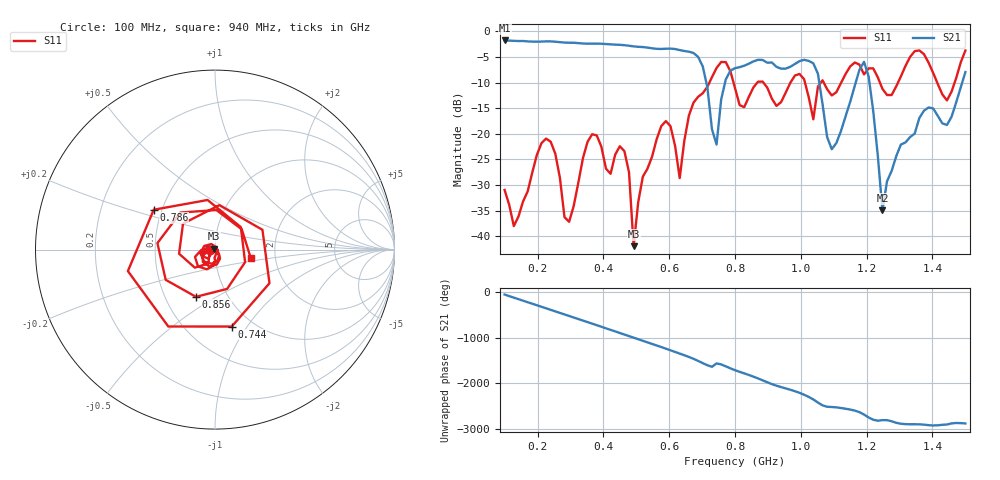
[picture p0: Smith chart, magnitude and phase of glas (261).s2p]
! NanoVNA-App
! Date: 2025-09-25 15:57:30
! Start: 100MHz Stop: 1,5GHz Points: 101
! S-Parameter data: F S11 S21 S12 S22
# Hz S RI R 50
!  Frequency  S11_Real  S11_Imag  S21_Real  S21_Imag  S12_Real  S12_Imag  S22_Real  S22_Imag
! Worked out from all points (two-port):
!   101 points, 100 MHz to 1.5 GHz, reference 50 ohm
!   highest |S21| = -1.80 dB at 100 MHz (marker M1); lowest = -34.9 dB at 1.248 GHz (marker M2)
!   |S21| within 3 dB of the highest: start of sweep to 684.2 MHz
!   lowest |S11| = -41.9 dB at 492 MHz (marker M3), VSWR 1.02, Z = 49.5 + j0.598 ohm
!   |S11| at or under -10 dB: start of sweep to 722.3 MHz; 795.4 MHz to 868 MHz (72.56 MHz wide, 8.72 % of centre); 886.2 MHz to 968.6 MHz (82.38 MHz wide, 8.88 % of centre) (the widest 3 of 7)
!   S12 and S22 are empty: the file has one direction only
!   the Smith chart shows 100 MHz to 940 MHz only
!   S11 on the Smith chart (normalised r, x): 100 MHz: 0.95, -0.01; 744 MHz: 0.80, -0.85; 786 MHz: 0.45, +0.24; 856 MHz: 0.71, -0.41; 940 MHz: 1.49, -0.14
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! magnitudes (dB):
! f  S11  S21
! 100 MHz  -30.9  -1.8
! 128 MHz  -38.0  -1.9
! 226 MHz  -20.9  -2.0
! 296 MHz  -37.1  -2.2
! 338 MHz  -24.7  -2.4
! 464 MHz  -23.4  -2.7
! 492 MHz  -41.9  -3.0
! 576 MHz  -18.5  -3.5
! 632 MHz  -28.6  -3.7
! 702 MHz  -12.1  -6.8
! 744 MHz  -7.2  -22.1
! 786 MHz  -7.8  -7.7
! 800 MHz  -11.1  -7.2
! 856 MHz  -10.9  -5.9
! 940 MHz  -13.8  -7.3
! 1.038 GHz  -17.2  -6.3
! 1.094 GHz  -12.5  -23.0
! 1.192 GHz  -8.4  -6.0
! 1.248 GHz  -11.2  -34.9
! 1.276 GHz  -12.4  -27.2
! 1.444 GHz  -13.5  -18.3
! 1.5 GHz  -3.8  -8.0
